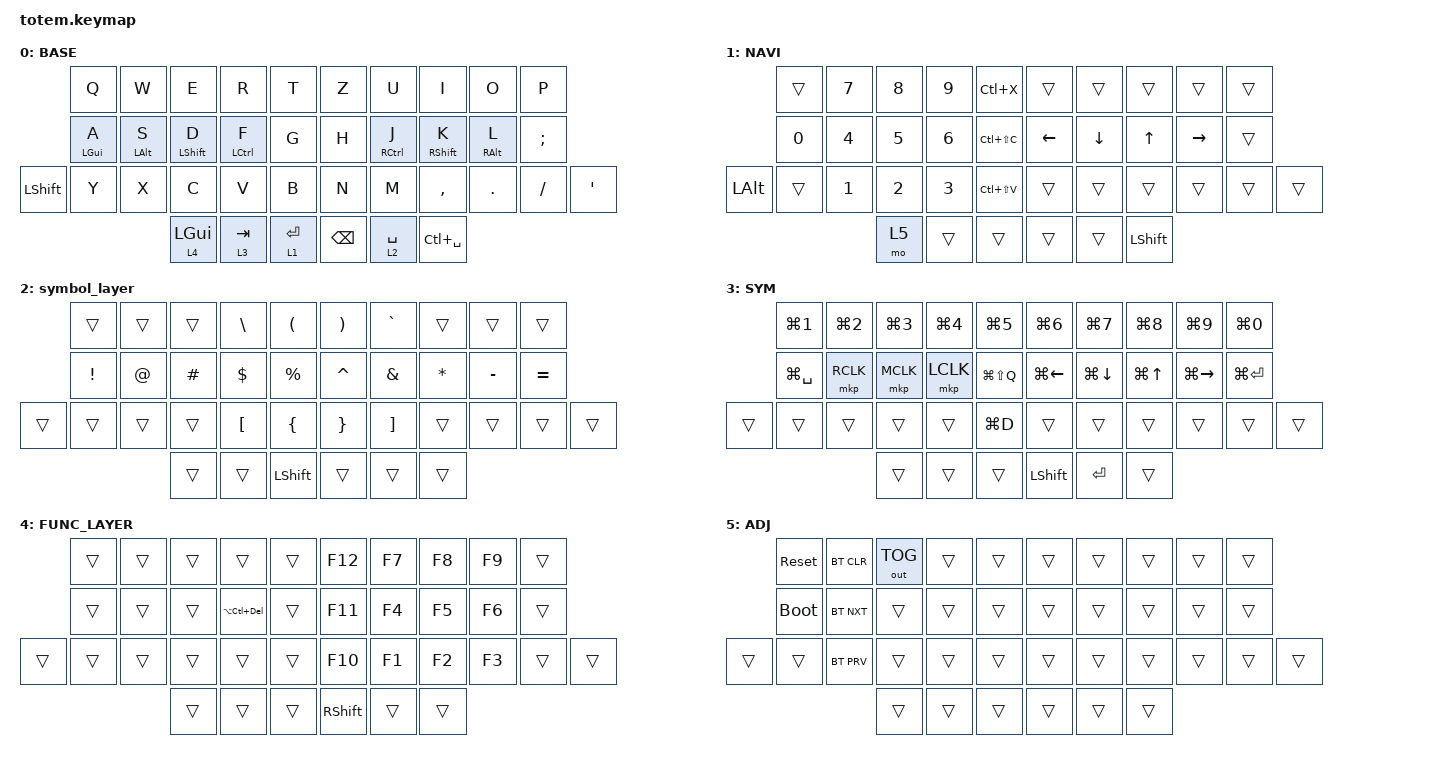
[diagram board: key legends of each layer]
//
//                                                        ▀▀▀▀▀     ▀▀▀▀▀          ▀▀█▀▀
//                                                        ▄▀▀▀▄  ▄  ▄▀▀▀▄  ▄  ▄▀▀▀▄  █  ▄▀▀▀▄
//                                                        █   █  █  █   █  █  █   █  █  █   █
//                                                         ▀▀▀   █   ▀▀▀   █   ▀▀▀   ▀   ▀▀▀
//                                                               █      ▄▄▄█▄▄▄    █   █  
//                                                               ▀      █  █  █     █▄█
//                                                             ▀▀▀▀▀    █  █  █      ▀
//                                                                      ▀  ▀  ▀
//
// ▄▄▄▄▄▄▄▄▄▄▄▄▄▄▄▄▄▄▄▄▄▄▄▄▄▄▄▄▄▄▄▄▄▄▄▄▄▄▄▄▄▄▄▄▄▄▄▄▄▄▄▄▄▄▄▄▄▄▄▄▄▄▄▄▄▄▄▄▄▄▄▄▄▄▄▄▄▄▄▄▄▄▄▄▄▄▄▄▄▄▄▄▄▄▄▄▄▄▄▄▄▄▄▄▄▄▄▄▄▄▄▄▄▄▄▄▄▄▄▄▄▄▄▄▄▄▄▄▄▄▄▄▄▄▄▄▄▄▄▄▄▄▄▄▄▄▄▄▄

#include <dt-bindings/zmk/mouse.h>
#include <behaviors.dtsi>
#include <dt-bindings/zmk/bt.h>
#include <dt-bindings/zmk/keys.h>
#include <dt-bindings/zmk/outputs.h>
#include <dt-bindings/zmk/pointing.h>

#define BASE 0
#define NAV  1
#define SYM  2
#define ADJ  3
#define TVP1 4
#define TVP2 5

&mt {
    quick-tap-ms = <150>;
    global-quick-tap;
    flavor = "tap-preferred";
    tapping-term-ms = <290>;
};

/ {
    combos {
        compatible = "zmk,combos";

        combo_esc {
            timeout-ms = <50>;
            key-positions = <0 1>;
            bindings = <&kp ESC>;
        };

        tab {
            bindings = <&kp TAB>;
            key-positions = <10 11>;
        };

        Copy {
            bindings = <&kp LC(C)>;
            key-positions = <13 12>;
        };

        Paste {
            bindings = <&kp LC(V)>;
            key-positions = <23 24>;
        };

        Cut {
            bindings = <&kp LC(X)>;
            key-positions = <2 3>;
        };

        NewTab {
            bindings = <&kp LC(T)>;
            key-positions = <11 12 13>;
        };
    };

    keymap {
        compatible = "zmk,keymap";

        // ▄▄▄▄▄▄▄▄▄▄▄▄▄▄▄▄▄▄▄▄▄▄▄▄▄▄▄▄▄▄▄▄▄▄▄▄▄▄▄▄▄▄▄▄▄▄▄▄▄▄▄▄▄▄▄▄▄▄▄▄▄▄▄▄▄▄▄▄▄▄▄▄▄▄▄▄▄▄▄▄▄▄▄▄▄▄▄▄▄▄▄▄▄▄▄▄▄▄▄▄▄▄▄▄▄▄▄▄▄▄▄▄▄▄▄▄▄▄▄▄▄▄▄▄▄▄▄▄▄▄▄▄▄▄▄▄▄▄▄▄▄▄▄▄▄▄▄▄▄

        base_layer {
            // ┏━━━━━━━━━━━━━━━━━━━━━━━━━━━━━━━━━━━━━━━┓

            label = "BASE";

            // ┗━━━━━━━━━━━━━━━━━━━━━━━━━━━━━━━━━━━━━━━┛
            //             ┏━━━━━━━━━━━┳━━━━━━━━━━━┳━━━━━━━━━━━┳━━━━━━━━━━━┳━━━━━━━━━━━┓   ┏━━━━━━━━━━━┳━━━━━━━━━━━┳━━━━━━━━━━━┳━━━━━━━━━━━┳━━━━━━━━━━━┓
            //             ┃     Q     ┃     W     ┃     F     ┃     P     ┃     G     ┃   ┃     J     ┃     L     ┃     U     ┃     Y     ┃     ;     ┃
            //             ┣━━━━━━━━━━━╋━━━━━━━━━━━╋━━━━━━━━━━━╋━━━━━━━━━━━╋━━━━━━━━━━━┫   ┣━━━━━━━━━━━╋━━━━━━━━━━━╋━━━━━━━━━━━╋━━━━━━━━━━━╋━━━━━━━━━━━┫
            //             ┃     A     ┃     R     ┃     S     ┃     T     ┃     D     ┃   ┃     H     ┃     N     ┃     E     ┃     I     ┃     O     ┃
            // ┏━━━━━━━━━━━╋━━━━━━━━━━━╋━━━━━━━━━━━╋━━━━━━━━━━━╋━━━━━━━━━━━╋━━━━━━━━━━━┫   ┣━━━━━━━━━━━╋━━━━━━━━━━━╋━━━━━━━━━━━╋━━━━━━━━━━━╋━━━━━━━━━━━╋━━━━━━━━━━━┓
            // ┃     Q     ┃     Z     ┃     X     ┃     C     ┃     V     ┃     B     ┃   ┃     K     ┃     M     ┃     ,     ┃     .     ┃     /     ┃     \     ┃
            // ┗━━━━━━━━━━━┻━━━━━━━━━━━┻━━━━━━━━━━━╋━━━━━━━━━━━╋━━━━━━━━━━━╋━━━━━━━━━━━┫   ┣━━━━━━━━━━━╋━━━━━━━━━━━╋━━━━━━━━━━━╋━━━━━━━━━━━┻━━━━━━━━━━━┻━━━━━━━━━━━┛
            //                                     ┃    DEL    ┃    TAB    ┃    SPC    ┃   ┃   ENTER   ┃           ┃   BSPC    ┃
            //                                     ┗━━━━━━━━━━━┻━━━━━━━━━━━┻━━━━━━━━━━━┛   ┗━━━━━━━━━━━┻━━━━━━━━━━━┻━━━━━━━━━━━┛

            bindings = <
            &kp Q           &kp W       &kp E             &kp R        &kp T          &kp Z          &kp U        &kp I              &kp O            &kp P
            &mt LEFT_GUI A  &mt LALT S  &mt LEFT_SHIFT D  &mt LCTRL F  &kp G          &kp H          &mt RCTRL J  &mt RIGHT_SHIFT K  &mt RIGHT_ALT L  &kp SEMICOLON
&kp LSHIFT  &kp Y           &kp X       &kp C             &kp V        &kp B          &kp N          &kp M        &kp COMMA          &kp DOT          &kp FSLH       &kp SQT
                                        &lt 4 LEFT_GUI    &lt 3 TAB    &lt 1 ENTER    &kp BACKSPACE  &lt 2 SPACE  &kp LC(SPACE)
            >;
        };

        nav_layer {
            // ┏━━━━━━━━━━━━━━━━━━━━━━━━━━━━━━━━━━━━━━━┓

            label = "NAVI";

            // ┗━━━━━━━━━━━━━━━━━━━━━━━━━━━━━━━━━━━━━━━┛
            //             ┏━━━━━━━━━━━┳━━━━━━━━━━━┳━━━━━━━━━━━┳━━━━━━━━━━━┳━━━━━━━━━━━┓   ┏━━━━━━━━━━━┳━━━━━━━━━━━┳━━━━━━━━━━━┳━━━━━━━━━━━┳━━━━━━━━━━━┓
            //             ┃           ┃           ┃     UP    ┃           ┃     {     ┃   ┃     }     ┃     7     ┃     8     ┃     9     ┃     +     ┃
            //             ┣━━━━━━━━━━━╋━━━━━━━━━━━╋━━━━━━━━━━━╋━━━━━━━━━━━╋━━━━━━━━━━━┫   ┣━━━━━━━━━━━╋━━━━━━━━━━━╋━━━━━━━━━━━╋━━━━━━━━━━━╋━━━━━━━━━━━┫
            //             ┃   SHIFT   ┃   LEFT    ┃    DOWN   ┃   RIGHT   ┃     [     ┃   ┃     ]     ┃     4     ┃     5     ┃     6     ┃     -     ┃
            // ┏━━━━━━━━━━━╋━━━━━━━━━━━╋━━━━━━━━━━━╋━━━━━━━━━━━╋━━━━━━━━━━━╋━━━━━━━━━━━┫   ┣━━━━━━━━━━━╋━━━━━━━━━━━╋━━━━━━━━━━━╋━━━━━━━━━━━╋━━━━━━━━━━━╋━━━━━━━━━━━┓
            // ┃           ┃           ┃   P UP    ┃  C LOCK   ┃  P DOWN   ┃     (     ┃   ┃     )     ┃     1     ┃     2     ┃     3     ┃     *     ┃           ┃
            // ┗━━━━━━━━━━━┻━━━━━━━━━━━┻━━━━━━━━━━━╋━━━━━━━━━━━╋━━━━━━━━━━━╋━━━━━━━━━━━┫   ┣━━━━━━━━━━━╋━━━━━━━━━━━╋━━━━━━━━━━━╋━━━━━━━━━━━┻━━━━━━━━━━━┻━━━━━━━━━━━┛
            //                                     ┃           ┃    TAB    ┃    SPC    ┃   ┃    DEL    ┃     0     ┃           ┃
            //                                     ┗━━━━━━━━━━━┻━━━━━━━━━━━┻━━━━━━━━━━━┛   ┗━━━━━━━━━━━┻━━━━━━━━━━━┻━━━━━━━━━━━┛

            bindings = <
              &trans        &kp NUMBER_7  &kp NUMBER_8  &kp N9        &kp LC(X)        &trans          &trans          &trans          &trans           &trans
              &kp NUMBER_0  &kp NUMBER_4  &kp NUMBER_5  &kp NUMBER_6  &kp LC(LS(C))    &kp LEFT_ARROW  &kp DOWN_ARROW  &kp UP_ARROW    &kp RIGHT_ARROW  &trans
&kp LEFT_ALT  &trans        &kp NUMBER_1  &kp NUMBER_2  &kp NUMBER_3  &kp LC(LS(V))    &trans          &trans          &trans          &trans           &trans  &trans
                                          &mo 5         &trans        &trans           &trans          &trans          &kp LEFT_SHIFT
            >;
        };

        symbol_layer {
            bindings = <
        &trans           &trans  &trans    &kp BACKSLASH     &kp LEFT_PARENTHESIS    &kp RIGHT_PARENTHESIS  &kp GRAVE          &trans        &trans     &trans
        &kp EXCLAMATION  &kp AT  &kp HASH  &kp DOLLAR        &kp PERCENT             &kp CARET              &kp AMPERSAND      &kp ASTERISK  &kp MINUS  &kp EQUAL
&trans  &trans           &trans  &trans    &kp LEFT_BRACKET  &kp LEFT_BRACE          &kp RIGHT_BRACE        &kp RIGHT_BRACKET  &trans        &trans     &trans     &trans
                                 &trans    &trans            &kp LEFT_SHIFT          &trans                 &trans             &trans
            >;
        };

        i3_layer {
            // ┏━━━━━━━━━━━━━━━━━━━━━━━━━━━━━━━━━━━━━━━┓

            label = "SYM";

            // ┗━━━━━━━━━━━━━━━━━━━━━━━━━━━━━━━━━━━━━━━┛
            //             ┏━━━━━━━━━━━┳━━━━━━━━━━━┳━━━━━━━━━━━┳━━━━━━━━━━━┳━━━━━━━━━━━┓   ┏━━━━━━━━━━━┳━━━━━━━━━━━┳━━━━━━━━━━━┳━━━━━━━━━━━┳━━━━━━━━━━━┓
            //             ┃     !     ┃     @     ┃     #     ┃     $     ┃     %     ┃   ┃     ˆ     ┃     &     ┃     Ü     ┃     '     ┃     "     ┃
            //             ┣━━━━━━━━━━━╋━━━━━━━━━━━╋━━━━━━━━━━━╋━━━━━━━━━━━╋━━━━━━━━━━━┫   ┣━━━━━━━━━━━╋━━━━━━━━━━━╋━━━━━━━━━━━╋━━━━━━━━━━━╋━━━━━━━━━━━┫
            //             ┃     Ä     ┃           ┃    SZ     ┃           ┃           ┃   ┃   MUTE    ┃   YEN     ┃   EURO    ┃  POUND    ┃     Ö     ┃
            // ┏━━━━━━━━━━━╋━━━━━━━━━━━╋━━━━━━━━━━━╋━━━━━━━━━━━╋━━━━━━━━━━━╋━━━━━━━━━━━┫   ┣━━━━━━━━━━━╋━━━━━━━━━━━╋━━━━━━━━━━━╋━━━━━━━━━━━╋━━━━━━━━━━━╋━━━━━━━━━━━┓
            // ┃           ┃  EMAIL1   ┃  EMAIL2   ┃           ┃           ┃           ┃   ┃   VOL-    ┃   VOL+    ┃   LAST    ┃   NEXT    ┃     \     ┃           ┃
            // ┗━━━━━━━━━━━┻━━━━━━━━━━━┻━━━━━━━━━━━╋━━━━━━━━━━━╋━━━━━━━━━━━╋━━━━━━━━━━━┫   ┣━━━━━━━━━━━╋━━━━━━━━━━━╋━━━━━━━━━━━╋━━━━━━━━━━━┻━━━━━━━━━━━┻━━━━━━━━━━━┛
            //                                     ┃           ┃    GIF    ┃    ADJ    ┃   ┃           ┃           ┃           ┃
            //                                     ┗━━━━━━━━━━━┻━━━━━━━━━━━┻━━━━━━━━━━━┛   ┗━━━━━━━━━━━┻━━━━━━━━━━━┻━━━━━━━━━━━┛

            bindings = <
        &kp LG(NUMBER_1)  &kp LG(NUMBER_2)  &kp LG(NUMBER_3)  &kp LG(NUMBER_4)  &kp LG(NUMBER_5)    &kp LG(NUMBER_6)  &kp LG(NUMBER_7)  &kp LG(NUMBER_8)  &kp LG(NUMBER_9)  &kp LG(N0)
        &kp LG(SPACE)     &mkp RCLK         &mkp MCLK         &mkp LCLK         &kp LG(LS(Q))       &kp LG(LEFT)      &kp LG(DOWN)      &kp LG(UP_ARROW)  &kp LG(RIGHT)     &kp LG(ENTER)
&trans  &trans            &trans            &trans            &trans            &kp LG(D)           &trans            &trans            &trans            &trans            &trans         &trans
                                            &trans            &trans            &trans              &kp LEFT_SHIFT    &kp ENTER         &trans
            >;
        };

        FUNC_LAYER {
            bindings = <
        &trans  &trans  &trans  &trans           &trans    &kp F12          &kp F7  &kp F8  &kp F9  &trans
        &trans  &trans  &trans  &kp LA(LC(DEL))  &trans    &kp F11          &kp F4  &kp F5  &kp F6  &trans
&trans  &trans  &trans  &trans  &trans           &trans    &kp F10          &kp F1  &kp F2  &kp F3  &trans  &trans
                        &trans  &trans           &trans    &kp RIGHT_SHIFT  &trans  &trans
            >;
        };

        adjust_layer {
            // ┏━━━━━━━━━━━━━━━━━━━━━━━━━━━━━━━━━━━━━━━┓

            label = "ADJ";

            // ┗━━━━━━━━━━━━━━━━━━━━━━━━━━━━━━━━━━━━━━━┛
            //             ┏━━━━━━━━━━━┳━━━━━━━━━━━┳━━━━━━━━━━━┳━━━━━━━━━━━┳━━━━━━━━━━━┓   ┏━━━━━━━━━━━┳━━━━━━━━━━━┳━━━━━━━━━━━┳━━━━━━━━━━━┳━━━━━━━━━━━┓
            //             ┃   RESET   ┃ BT CLEAR  ┃  OUT TOG  ┃           ┃           ┃   ┃           ┃    F7     ┃    F8     ┃    F9     ┃    F12    ┃
            //             ┣━━━━━━━━━━━╋━━━━━━━━━━━╋━━━━━━━━━━━╋━━━━━━━━━━━╋━━━━━━━━━━━┫   ┣━━━━━━━━━━━╋━━━━━━━━━━━╋━━━━━━━━━━━╋━━━━━━━━━━━╋━━━━━━━━━━━┫
            //             ┃ BOOTLOAD  ┃ BT NEXT   ┃           ┃           ┃           ┃   ┃           ┃    F4     ┃    F5     ┃    F6     ┃    F11    ┃
            // ┏━━━━━━━━━━━╋━━━━━━━━━━━╋━━━━━━━━━━━╋━━━━━━━━━━━╋━━━━━━━━━━━╋━━━━━━━━━━━┫   ┣━━━━━━━━━━━╋━━━━━━━━━━━╋━━━━━━━━━━━╋━━━━━━━━━━━╋━━━━━━━━━━━╋━━━━━━━━━━━┓
            // ┃           ┃           ┃ BT PREV   ┃           ┃           ┃           ┃   ┃           ┃    F1     ┃    F2     ┃    F3     ┃    F10    ┃           ┃
            // ┗━━━━━━━━━━━┻━━━━━━━━━━━┻━━━━━━━━━━━╋━━━━━━━━━━━╋━━━━━━━━━━━╋━━━━━━━━━━━┫   ┣━━━━━━━━━━━╋━━━━━━━━━━━╋━━━━━━━━━━━╋━━━━━━━━━━━┻━━━━━━━━━━━┻━━━━━━━━━━━┛
            //                                     ┃           ┃           ┃           ┃   ┃           ┃           ┃           ┃
            //                                     ┗━━━━━━━━━━━┻━━━━━━━━━━━┻━━━━━━━━━━━┛   ┗━━━━━━━━━━━┻━━━━━━━━━━━┻━━━━━━━━━━━┛

            bindings = <
        &sys_reset   &bt BT_CLR  &out OUT_TOG  &trans  &trans    &trans  &trans  &trans  &trans  &trans
        &bootloader  &bt BT_NXT  &trans        &trans  &trans    &trans  &trans  &trans  &trans  &trans
&trans  &trans       &bt BT_PRV  &trans        &trans  &trans    &trans  &trans  &trans  &trans  &trans  &trans
                                 &trans        &trans  &trans    &trans  &trans  &trans
            >;
        };

        // ▄▄▄▄▄▄▄▄▄▄▄▄▄▄▄▄▄▄▄▄▄▄▄▄▄▄▄▄▄▄▄▄▄▄▄▄▄▄▄▄▄▄▄▄▄▄▄▄▄▄▄▄▄▄▄▄▄▄▄▄▄▄▄▄▄▄▄▄▄▄▄▄▄▄▄▄▄▄▄▄▄▄▄▄▄▄▄▄▄▄▄▄▄▄▄▄▄▄▄▄▄▄▄▄▄▄▄▄▄▄▄▄▄▄▄▄▄▄▄▄▄▄▄▄▄▄▄▄▄▄▄▄▄▄▄▄▄▄▄▄▄▄▄▄▄▄▄▄▄
        // ▄▄▄▄▄▄▄▄▄▄▄▄▄▄▄▄▄▄▄▄▄▄▄▄▄▄▄▄▄▄▄▄▄▄▄▄▄▄▄▄▄▄▄▄▄▄▄▄▄▄▄▄▄▄▄▄▄▄▄▄▄▄▄▄▄▄▄▄▄▄▄▄▄▄▄▄▄▄▄▄▄▄▄▄▄▄▄▄▄▄▄▄▄▄▄▄▄▄▄▄▄▄▄▄▄▄▄▄▄▄▄▄▄▄▄▄▄▄▄▄▄▄▄▄▄▄▄▄▄▄▄▄▄▄▄▄▄▄▄▄▄▄▄▄▄▄▄▄▄
    };
};
